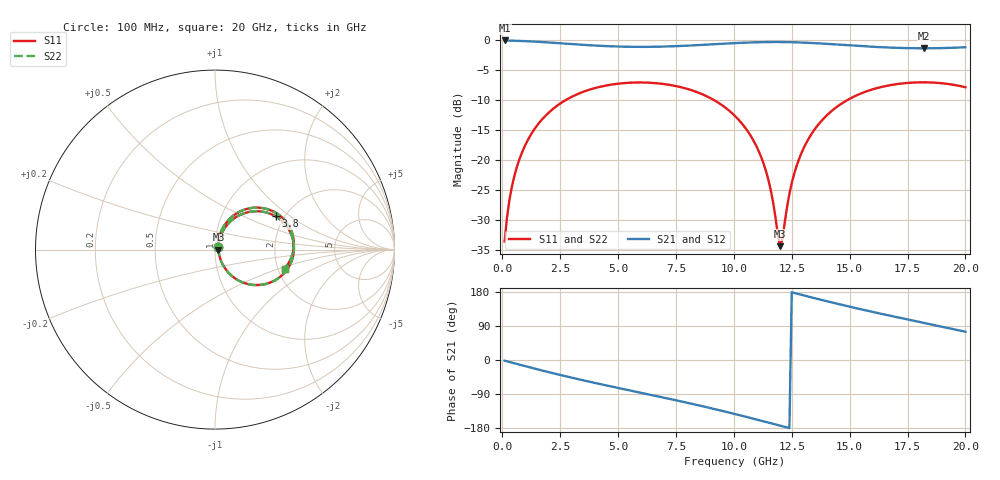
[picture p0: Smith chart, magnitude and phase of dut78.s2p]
! Touchstone file exported from HFSS 2026.1.0
!  File:  C:/ffzhzh/LocalFiles/Ansys_Project_Files/temp_train_TSV_RDL_78_1782970861_45308.aedt
!  Generated:  01:52:29 PM Jul  2, 2026
!  Design:  TSV_RDL
!  Project:  temp_train_TSV_RDL_78_1782970861_45308
! Variables:
!  h_bsmrdl = 5.1um
!  h_ox = 20um
!  h_rdl = 5um
!  h_sub = 96.17um
!  h_tmrdl = 5.02um
!  h_tsv = 96.17um
!  h_via = 3um
!  l_bsmrdl = 926.3um
!  l_sub = 4643.54um
!  l_tmrdl = 335.08um
!  m_sub = 200um
!  pitch = 48.15um
!  r_tsv = 12.88um
!  s_tmrdl = 10um
!  w_bsmrdl = 23.9um
!  w_sub = 500um
!  w_tmrdl = 17.54um
!  x_tsv_center1 = 343.85um
!  x_tsv_center2 = 1294.05um
!  x_tsv_center3 = 1646.67um
!  x_tsv_center4 = 2596.87um
!  x_tsv_center5 = 2949.49um
!  x_tsv_center6 = 3899.69um
# GHz S MA R 50.000000
! Terminal data exported
! Port[1] = TM_RDL1_1_T1
! Port[2] = TM_RDL5_1_T1
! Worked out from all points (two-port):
!   200 points, 100 MHz to 20 GHz, reference 50 ohm
!   highest |S21| = -0.13 dB at 100 MHz (marker M1); lowest = -1.4 dB at 18.2 GHz (marker M2)
!   |S21| within 3 dB of the highest: start of sweep to end of sweep
!   lowest |S11| = -34.4 dB at 12 GHz (marker M3), VSWR 1.04, Z = 51.9 - j0.0157 ohm
!   |S11| at or under -10 dB: start of sweep to 2.767 GHz; 9.113 GHz to 14.93 GHz (5.819 GHz wide, 48.4 % of centre)
!   |S22| runs from -34.7 to -7.1 dB; largest |S21 - S12| = 2e-14
!   S11 on the Smith chart (normalised r, x): 100 MHz: 1.03, +0.03; 3.8 GHz: 1.80, +0.78; 20 GHz: 2.17, -0.55
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0.1  0.0208 43.3  0.9852 -1.7  0.9852 -1.7  0.0208 43.3
! Gamma 0 0 0 0
! Port Impedance 50 0 50 0
0.3  0.04508 63.7  0.9828 -5.0  0.9828 -5.0  0.04508 63.7
0.5  0.07039 67.5  0.9804 -8.3  0.9804 -8.3  0.07039 67.5
1.1  0.1455 64.5  0.9705 -18.0  0.9705 -18.0  0.1455 64.5
2.1  0.2563 51.7  0.945 -33.5  0.945 -33.5  0.2563 51.7
3.5  0.3681 32.7  0.9053 -53.7  0.9053 -53.7  0.3681 32.7
3.8  0.3851 28.8  0.898 -57.8  0.898 -57.8  0.3851 28.8
5.3  0.4353 9.7  0.8739 -77.6  0.8739 -77.6  0.4354 9.7
6.8  0.4311 -8.8  0.8746 -97.0  0.8746 -97.0  0.4311 -8.9
8.5  0.36 -30.5  0.9019 -119.9  0.9019 -119.9  0.36 -30.6
10.1  0.2262 -51.4  0.9375 -143.4  0.9375 -143.4  0.2263 -51.6
10.8  0.1498 -59.5  0.9494 -154.2  0.9494 -154.2  0.1498 -59.8
11.3  0.09085 -62.5  0.9545 -162.1  0.9545 -162.1  0.09079 -62.9
11.6  0.05515 -59.1  0.9559 -166.9  0.9559 -166.9  0.055 -59.7
12  0.01903 -0.5  0.9558 -173.3  0.9558 -173.3  0.01838 -0.9
12.4  0.05199 67.0  0.9533 -179.7  0.9533 -179.7  0.05169 67.6
12.6  0.07558 70.8  0.9512 177.1  0.9512 177.1  0.07535 71.2
13.4  0.1689 66.6  0.9378 164.5  0.9378 164.5  0.1688 66.8
14.8  0.3057 49.2  0.9026 143.6  0.9026 143.6  0.3056 49.3
16.7  0.4161 25.0  0.8598 117.5  0.8598 117.5  0.416 25.1
18.2  0.4414 6.8  0.8478 98.1  0.8478 98.1  0.4413 6.8
20  0.4015 -15.2  0.8645 74.6  0.8645 74.6  0.4015 -15.2
